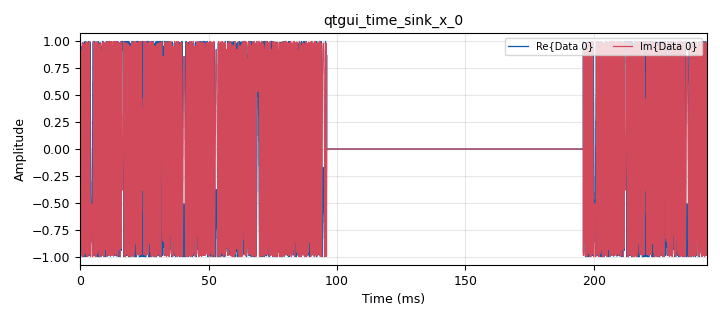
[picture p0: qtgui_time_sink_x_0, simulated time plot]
options:
  parameters:
    generate_options: qt_gui
    id: modules_test
    output_language: python
    title: Not titled yet
  states: {}

blocks:
- name: CR
  id: variable
  parameters:
    value: '2'
  states: {}
- name: SF
  id: variable
  parameters:
    value: '9'
  states: {}
- name: preamble_len
  id: variable
  parameters:
    value: '4'
  states: {}
- name: samp_rate
  id: variable
  parameters:
    value: '32000'
  states: {}
- name: blocks_file_sink_0
  id: blocks_file_sink
  parameters:
    file: dumpIN
    type: byte
  states: {state: disabled}
- name: blocks_file_sink_0_0
  id: blocks_file_sink
  parameters:
    file: dump
    type: byte
  states: {state: disabled}
- name: blocks_file_sink_0_1
  id: blocks_file_sink
  parameters:
    file: dumpOUT
    type: byte
  states: {state: disabled}
- name: blocks_file_sink_1
  id: blocks_file_sink
  parameters:
    file: lora_frame
    type: complex
  states: {}
- name: blocks_stream_mux_0
  id: blocks_stream_mux
  parameters:
    lengths: (round(pow(2,SF)*(preamble_len+2.25)), 9*512)
    type: complex
  states: {}
- name: blocks_vector_source_x_0_0_0_0
  id: blocks_vector_source_x
  parameters:
    repeat: 'False'
    type: byte
    vector: (0x01, 0x02, 0x03, 0x04, 0x05, 0x06, 0x07, 0x08, 0x09, 0x01, 0x02, 0x03, 0x04, 0x05, 0x06, 0x07, 0x08, 0x09)
  states: {}
- name: blocks_vector_source_x_0_1
  id: blocks_vector_source_x
  parameters:
    repeat: 'False'
    type: byte
    vector: (0xFF, 0x7F, 0x3F, 0x1F, 0x1F, 0x1F)
  states: {state: disabled}
- name: blocks_vector_to_stream_0_0_0
  id: blocks_vector_to_stream
  parameters:
    num_items: round(pow(2,SF)*(preamble_len+2.25))
    type: complex
  states: {}
- name: blocks_vector_to_stream_0_0_1
  id: blocks_vector_to_stream
  parameters:
    num_items: pow(2,SF)
    type: complex
  states: {}
- name: epy_block_0
  id: epy_block
  parameters:
    CR: CR
    SF: SF
    _source_code: |-
      """
      Interleaving block
      Scrambles bits together to fight error bursts.
      Reference : "Towards an SDR implementation of LoRa..." 2020 A.Marquet, N.Montavont, G.Papadopoulos)
      """

      import numpy as np
      from gnuradio import gr

      class Deinterleaver(gr.basic_block):
          def __init__(self, SF=9, CR=2):
              gr.basic_block.__init__(self,
                  name="LoRa Deinterleaver",
                  in_sig=[np.uint32],
                  out_sig=[np.uint8])
              self.SF = SF
              self.CR = CR

          def forecast(self, noutput_items, ninputs) :
              ninput_items_required = [self.CR+4]*ninputs #ninput_items_required[i] is the number of items that will be consumed on input port i
              return ninput_items_required

          def general_work(self, input_items, output_items):
              
              if(len(input_items[0]) >= self.CR+4) :

                  #buffer references
                  in0 = input_items[0][:self.CR+4]

                  # parsing in0 (convert + crop to CR+4 lines of SF bits and bundle in matrix)
                  input_matrix = np.zeros((self.CR+4, self.SF), dtype=np.uint8)
                  for i in range(len(in0)):
                      bits_crop = [int(x) for x in bin(in0[i])[2:]]        
                      bits_crop_norm = ([0]*(self.SF-len(bits_crop)) + bits_crop)[-(self.SF):]
                      input_matrix[i][:] = np.asarray(bits_crop_norm, dtype=np.uint8)

                  # deinterleaving
                  output_matrix = np.zeros((self.SF, self.CR+4), dtype=np.uint8)
                  for i in range(0,(self.SF)) :
                      for j in range(0,(self.CR+4)) :
                          idi=self.CR+4-1-j
                          idj=(self.SF-1-i+(self.CR+4)-1-j)%self.SF
                          output_matrix[i][j]=input_matrix[idi][idj]


                  # to uint32
                  output_items[0][0:(self.SF)] = output_matrix.dot(1 << np.arange(output_matrix.shape[-1] - 1, -1, -1))

                  # # debug
                  # print("\n--- GENERAL WORK : DEINTERLEAVER ---")
                  # print("in0 :")
                  # print(in0)
                  # print("len(in0) (should be CR+4): ")
                  # print(len(in0))
                  # print("input_matrix (CR+4 x SF):")
                  # print(input_matrix)
                  # print("output_matrix (SF x CR+4 ):")
                  # print(output_matrix)
                  # print("output_items[0] = ")
                  # print(output_items[0][0:(self.SF)])
                  # print("return len(output_items[0]) (should be CR+4): ")
                  # print(len(output_items[0]))

                  self.consume(0, self.CR+4)
                  # self.produce(0, self.SF-1)
                  return self.SF

              else :
                  return 0
  states: {state: disabled}
- name: epy_block_0_1_0_0
  id: epy_block
  parameters:
    CR: CR
    SF: SF
    _source_code: "\"\"\"\nInterleaving block\nScrambles bits together to fight error bursts.\nReference : \"Towards an SDR implementation of LoRa...\" 2020 A.Marquet, N.Montavont, G.Papadopoulos)\n\"\"\"\n\nimport numpy as np\nfrom gnuradio import gr\n\nclass Interleaver(gr.basic_block):\n    def __init__(self, SF=9, CR=4):\n        gr.basic_block.__init__(self,\n            name=\"LoRa Interleaver\",\n            in_sig=[np.uint8],\n            out_sig=[np.uint32])\n        self.SF = SF\n        self.CR = CR\n\n    def forecast(self, noutput_items, ninputs) :\n        ninput_items_required = [self.SF]*ninputs #ninput_items_required[i] is the number of items that will be consumed on input port i\n        return ninput_items_required\n\n    def general_work(self, input_items, output_items):\n        \n        if(len(input_items[0]) >= self.SF) :\n\n            #buffer references\n            in0 = input_items[0][:self.SF]\n\n            # parsing in0 (convert + crop to SF lines of CR+4 bits and bundle in matrix)\n            input_matrix = np.zeros((self.SF, self.CR+4), dtype=np.uint8)\n            for i in range(len(in0)):\n                bits_crop = [int(x) for x in bin(in0[i])[2:]]        \n                bits_crop_norm = ([0]*(self.CR+4-len(bits_crop)) + bits_crop)[-(self.CR+4):]\n                input_matrix[i][:] = np.asarray(bits_crop_norm, dtype=np.uint8)\n\n            # interleaving\n            output_matrix = np.zeros((self.CR+4, self.SF), dtype=np.uint8)\n            for i in range(0,(self.CR+4)) :\n                for j in range(0,(self.SF)) :\n                    idi=self.SF-1-(j-i)%self.SF\n                    idj=self.CR+4-1-i\n                    output_matrix[i][j]=input_matrix[idi][idj]\n            \n            # to uint32\n            output_items[0][0:(self.CR+4)] = output_matrix.dot(1 << np.arange(output_matrix.shape[-1] - 1, -1, -1))\n\n            # # debug\n            # print(\"\\n--- GENERAL WORK : INTERLEAVER ---\")\n            # print(\"in0 :\")\n            # print(in0)\n            # print(\"len(in0) (should be SF): \")\n            # print(len(in0))\n            # print(\"input_matrix (SF x CR+4):\")\n            # print(input_matrix)\n            # print(\"output_matrix (CR+4 x SF):\")\n            # print(output_matrix)\n            # print(\"output_items[0] = \")\n            # print(output_items[0])\n\n            #consume inputs (should be SF)\n            self.consume(0, self.SF)\n            return self.CR+4\n\n        else :\n            return 0\n\n\n\n"
  states: {}
- name: epy_block_1
  id: epy_block
  parameters:
    CR: CR
    _source_code: |-
      """
      Hamming Decoding block
      Forward Error Correction encoding block
      Reference : "Towards an SDR implementation of LoRa..." 2020 A.Marquet, N.Montavont, G.Papadopoulos)
      """

      import numpy as np
      from gnuradio import gr


      class Hamming_Rx(gr.sync_block):  # other base classes are basic_block, decim_block, interp_block
          def __init__(self, CR = 2):  # only default arguments here
              gr.sync_block.__init__(
                  self,
                  name='LoRa Hamming Rx',   # will show up in GRC
                  in_sig=[np.uint8],
                  out_sig=[np.uint8]
              )
              self.CR = CR

          def decode(self, input_vect, CR_loc) : 

              output=input_vect

              if CR_loc == 1:
                  syndrome = input_vect[0] ^ input_vect[1] ^ input_vect[2] ^ input_vect[3] ^ input_vect[4]
                  output = input_vect

              if CR_loc == 2:
                  syndrome = np.zeros((2,1), dtype=np.uint8)
                  syndrome[0] = input_vect[0] ^ input_vect[1] ^ input_vect[2] ^ input_vect[5]
                  syndrome[1] = input_vect[1] ^ input_vect[2] ^ input_vect[3] ^ input_vect[4]
                  output = input_vect

              if CR_loc == 3:
                  n = 4+CR_loc
                  k = 4
                  Q = np.array([[0,1,1], [1,1,0], [1,1,1], [1,0,1]], np.uint8)
                  Id = np.identity(n-k, dtype=np.uint8)
                  H = np.concatenate((Q.transpose(), Id),axis=1)
                  syndrome = np.dot(input_vect[:], H.transpose())%2

                  tmp = np.zeros((1,n-k+4), dtype=np.uint8)
                  tmp2 = np.identity(n-k+4, dtype=np.uint8)
                  E = np.concatenate((tmp, tmp2),axis=0)
                  S = np.dot(E,H.transpose())%2

                  # if(syndrome[0] == 1 or syndrome[1] == 1):
                  #     print("Error detected, correcting...")

                  for j in range(S.shape[1]):
                      if np.array_equal(S[j],syndrome):
                          output = input_vect ^ E[j][:]


              if CR_loc == 4:
                  n = 4+CR_loc
                  k = 4
                  Q = np.array([[0,1,1,1], [1,1,0,1], [1,1,1,0], [1,0,1,1]], np.uint8)
                  Id = np.identity(n-k, dtype=np.uint8)
                  H = np.concatenate((Q.transpose(), Id),axis=1)
                  syndrome = np.dot(input_vect[:], H.transpose())%2
                  if np.array_equal(syndrome,np.array([0,0,0,0])):
                      output = input_vect
                      # print("no error detected")

                  else :
                      parity = input_vect[0] ^ input_vect[1] ^ input_vect[2] ^ input_vect[3] ^ input_vect[4] ^ input_vect[5] ^ input_vect[6] ^ input_vect[7]

                      if parity :
                          # print("1 error detected, sending to hamming(7,3)")
                          output = self.decode(input_vect[:][0:7], 3)
                      # else :
                          # print("2 errors detected")
                      
              
              return output[:][0:4]

          def work(self, input_items, output_items):

              in0 = input_items[0]
              out = output_items[0]
          
              # Hamming encoding (iterate over matrix lines and encode each)
              output_matrix = np.zeros((len(in0), 4), dtype=np.uint8)
              input_matrix = np.zeros((len(in0), 4+self.CR), dtype=np.uint8)

              for i in range(len(in0)):

                  # parsing in0 (convert + crop to lines of 4 bits and bundle in matrix)
                  bits_crop = [int(x) for x in bin(in0[i])[2:]]        
                  bits_crop_norm = ([0]*(self.CR+4-len(bits_crop)) + bits_crop)[-(self.CR+4):]
                  input_matrix[i][:] = np.asarray(bits_crop_norm, dtype=np.uint8)

                  output_matrix[i][:] = self.decode(input_matrix[i][:],self.CR)


              # convert output matrix to uint8
              out[:] = output_matrix.dot(1 << np.arange(output_matrix.shape[-1] - 1, -1, -1))

              # # debug
              # print("\n--- GENERAL WORK : HAMMING_DEC ---")
              # print("in0 :")
              # print(in0)
              # print("input_matrix :")
              # print(input_matrix)
              # print("output_matrix :")
              # print(output_matrix)
              # print("out :")
              # print(out)
              # print("--- HAMMING_DEC END---")

              return len(output_items[0])
  states: {state: disabled}
- name: epy_block_1_0_0
  id: epy_block
  parameters:
    _source_code: |
      """
      Whitening block
      Whiten input sequence to remove the frequency and time correlations in it.

      """
      import numpy as np
      from gnuradio import gr

      whitening_seq =(0xFF, 0xFE, 0xFC, 0xF8, 0xF0, 0xE1, 0xC2, 0x85, 0x0B, 0x17, 0x2F, 0x5E, 0xBC, 0x78, 0xF1, 0xE3,
                      0xC6, 0x8D, 0x1A, 0x34, 0x68, 0xD0, 0xA0, 0x40, 0x80, 0x01, 0x02, 0x04, 0x08, 0x11, 0x23, 0x47,
                      0x8E, 0x1C, 0x38, 0x71, 0xE2, 0xC4, 0x89, 0x12, 0x25, 0x4B, 0x97, 0x2E, 0x5C, 0xB8, 0x70, 0xE0,
                      0xC0, 0x81, 0x03, 0x06, 0x0C, 0x19, 0x32, 0x64, 0xC9, 0x92, 0x24, 0x49, 0x93, 0x26, 0x4D, 0x9B,
                      0x37, 0x6E, 0xDC, 0xB9, 0x72, 0xE4, 0xC8, 0x90, 0x20, 0x41, 0x82, 0x05, 0x0A, 0x15, 0x2B, 0x56,
                      0xAD, 0x5B, 0xB6, 0x6D, 0xDA, 0xB5, 0x6B, 0xD6, 0xAC, 0x59, 0xB2, 0x65, 0xCB, 0x96, 0x2C, 0x58,
                      0xB0, 0x61, 0xC3, 0x87, 0x0F, 0x1F, 0x3E, 0x7D, 0xFB, 0xF6, 0xED, 0xDB, 0xB7, 0x6F, 0xDE, 0xBD,
                      0x7A, 0xF5, 0xEB, 0xD7, 0xAE, 0x5D, 0xBA, 0x74, 0xE8, 0xD1, 0xA2, 0x44, 0x88, 0x10, 0x21, 0x43,
                      0x86, 0x0D, 0x1B, 0x36, 0x6C, 0xD8, 0xB1, 0x63, 0xC7, 0x8F, 0x1E, 0x3C, 0x79, 0xF3, 0xE7, 0xCE,
                      0x9C, 0x39, 0x73, 0xE6, 0xCC, 0x98, 0x31, 0x62, 0xC5, 0x8B, 0x16, 0x2D, 0x5A, 0xB4, 0x69, 0xD2,
                      0xA4, 0x48, 0x91, 0x22, 0x45, 0x8A, 0x14, 0x29, 0x52, 0xA5, 0x4A, 0x95, 0x2A, 0x54, 0xA9, 0x53,
                      0xA7, 0x4E, 0x9D, 0x3B, 0x77, 0xEE, 0xDD, 0xBB, 0x76, 0xEC, 0xD9, 0xB3, 0x67, 0xCF, 0x9E, 0x3D,
                      0x7B, 0xF7, 0xEF, 0xDF, 0xBF, 0x7E, 0xFD, 0xFA, 0xF4, 0xE9, 0xD3, 0xA6, 0x4C, 0x99, 0x33, 0x66,
                      0xCD, 0x9A, 0x35, 0x6A, 0xD4, 0xA8, 0x51, 0xA3, 0x46, 0x8C, 0x18, 0x30, 0x60, 0xC1, 0x83, 0x07,
                      0x0E, 0x1D, 0x3A, 0x75, 0xEA, 0xD5, 0xAA, 0x55, 0xAB, 0x57, 0xAF, 0x5F, 0xBE, 0x7C, 0xF9, 0xF2,
                      0xE5, 0xCA, 0x94, 0x28, 0x50, 0xA1, 0x42, 0x84, 0x09, 0x13, 0x27, 0x4F, 0x9F, 0x3F, 0x7F)

      whitening_seq_debug =0xFF, 0xFF, 0xFF, 0xFF, 0xFF, 0xFF

      whitening_seq = whitening_seq_debug

      class Whitening(gr.sync_block):  # other base classes are basic_block, decim_block, interp_block
          def __init__(self):  # only default arguments here
              gr.sync_block.__init__(
                  self,
                  name='LoRa Whitening',   # will show up in GRC
                  in_sig=[np.uint8],
                  out_sig=[np.uint8]
              )
              self.table_idx = 0
              
          def work(self, input_items, output_items):
              
              in0 = input_items[0]
              out = output_items[0]
              # parsing in0 (convert + crop to lines of 4 bits and bundle in matrix)
              input_matrix = np.zeros((len(in0), 4), dtype=np.uint8)
              for i in range(len(in0)):
                  bits_crop = [int(x) for x in bin(in0[i])[2:]]        
                  bits_crop_norm = ([0]*(4-len(bits_crop)) + bits_crop)[-(4):]
                  input_matrix[i][:] = np.asarray(bits_crop_norm, dtype=np.uint8)
                  
                  # whitening
                  out[i] = in0[i] ^ whitening_seq[self.table_idx]
                  self.table_idx += 1
                  if(self.table_idx == len(whitening_seq)):
                      self.table_idx = 0


              # #debug
              # print("\n--- GENERAL WORK : WHITENING ---")
              # print("in0 :")
              # print(in0)
              # print("input_matrix :")
              # print(input_matrix)
              # print("out :")
              # print(out)
              # print("return len(out): ")
              # print(len(out))
              # print("--- WHITENING END---")

              return len(out)
  states: {}
- name: epy_block_1_1
  id: epy_block
  parameters:
    CR: CR
    _source_code: |
      """
      Hamming encoding block
      Forward Error Correction encoding block
      Reference : "Towards an SDR implementation of LoRa..." 2020 A.Marquet, N.Montavont, G.Papadopoulos)
      """

      import numpy as np
      from gnuradio import gr


      class Hamming_enc(gr.sync_block):  # other base classes are basic_block, decim_block, interp_block
          def __init__(self, CR = 4):  # only default arguments here
              gr.sync_block.__init__(
                  self,
                  name='LoRa Hamming Tx',   # will show up in GRC
                  in_sig=[np.uint8],
                  out_sig=[np.uint8]
              )
              self.CR = CR

          def work(self, input_items, output_items):
              
              in0 = input_items[0]
              out = output_items[0]
          
              # Hamming encoding (iterate over matrix lines and encode each)
              output_matrix = np.zeros((len(in0), 4+self.CR), dtype=np.uint8)
              input_matrix = np.zeros((len(in0), 4), dtype=np.uint8)
              for i in range(len(in0)):

                  # parsing in0 (convert + crop to lines of 4 bits and bundle in matrix)
                  bits_crop = [int(x) for x in bin(in0[i])[2:]] 
                  # print(bits_crop)      
                  bits_crop_norm = ([0]*(4-len(bits_crop)) + bits_crop)[-(4):]
                  input_matrix[i][:] = np.asarray(bits_crop_norm, dtype=np.uint8)

                  if self.CR == 1:
                      p0 = input_matrix[i][0] ^ input_matrix[i][1] ^ input_matrix[i][2] ^ input_matrix[i][3]
                      output_matrix[i] = np.asarray([input_matrix[i][0], input_matrix[i][1], input_matrix[i][2], input_matrix[i][3], p0], dtype=np.uint8)

                  if self.CR == 2:
                      p0 = input_matrix[i][0] ^ input_matrix[i][1] ^ input_matrix[i][2]
                      p1 = input_matrix[i][1] ^ input_matrix[i][2] ^ input_matrix[i][3]
                      output_matrix[i] = np.asarray([input_matrix[i][0], input_matrix[i][1], input_matrix[i][2], input_matrix[i][3], p1, p0], dtype=np.uint8)

                  if self.CR == 3:
                      Q = np.array([[0,1,1,1], [1,1,0,1], [1,1,1,0], [1,0,1,1]], np.uint8)
                      Id = np.identity(4, dtype=np.uint8)
                      G = np.concatenate((Id, Q),axis=1)
                      output_matrix[i] = (np.dot(input_matrix[i],G)%2)[0:4+self.CR]

                  if self.CR == 4:
                      Q = np.array([[0,1,1,1], [1,1,0,1], [1,1,1,0], [1,0,1,1]], np.uint8)
                      Id = np.identity(4, dtype=np.uint8)
                      G = np.concatenate((Id, Q),axis=1)
                      output_matrix[i] = (np.dot(input_matrix[i],G)%2)

              # convert output matrix to uint8
              out[:] = output_matrix.dot(1 << np.arange(output_matrix.shape[-1] - 1, -1, -1))

              # #debug
              # print("\n--- GENERAL WORK : HAMMING_ENC ---")
              # print("in0 :")
              # print(in0)
              # print("input_matrix :")
              # print(input_matrix)
              # print("output_matrix :")
              # print(output_matrix)
              # print("out :")
              # print(out)
              # print("--- HAMMING_ENC END---")

              return len(output_items[0])
  states: {}
- name: epy_block_2
  id: epy_block
  parameters:
    _source_code: |-
      """
      Dewhitening block
      """
      import numpy as np
      from gnuradio import gr

      whitening_seq =(0xFF, 0xFE, 0xFC, 0xF8, 0xF0, 0xE1, 0xC2, 0x85, 0x0B, 0x17, 0x2F, 0x5E, 0xBC, 0x78, 0xF1, 0xE3,
                      0xC6, 0x8D, 0x1A, 0x34, 0x68, 0xD0, 0xA0, 0x40, 0x80, 0x01, 0x02, 0x04, 0x08, 0x11, 0x23, 0x47,
                      0x8E, 0x1C, 0x38, 0x71, 0xE2, 0xC4, 0x89, 0x12, 0x25, 0x4B, 0x97, 0x2E, 0x5C, 0xB8, 0x70, 0xE0,
                      0xC0, 0x81, 0x03, 0x06, 0x0C, 0x19, 0x32, 0x64, 0xC9, 0x92, 0x24, 0x49, 0x93, 0x26, 0x4D, 0x9B,
                      0x37, 0x6E, 0xDC, 0xB9, 0x72, 0xE4, 0xC8, 0x90, 0x20, 0x41, 0x82, 0x05, 0x0A, 0x15, 0x2B, 0x56,
                      0xAD, 0x5B, 0xB6, 0x6D, 0xDA, 0xB5, 0x6B, 0xD6, 0xAC, 0x59, 0xB2, 0x65, 0xCB, 0x96, 0x2C, 0x58,
                      0xB0, 0x61, 0xC3, 0x87, 0x0F, 0x1F, 0x3E, 0x7D, 0xFB, 0xF6, 0xED, 0xDB, 0xB7, 0x6F, 0xDE, 0xBD,
                      0x7A, 0xF5, 0xEB, 0xD7, 0xAE, 0x5D, 0xBA, 0x74, 0xE8, 0xD1, 0xA2, 0x44, 0x88, 0x10, 0x21, 0x43,
                      0x86, 0x0D, 0x1B, 0x36, 0x6C, 0xD8, 0xB1, 0x63, 0xC7, 0x8F, 0x1E, 0x3C, 0x79, 0xF3, 0xE7, 0xCE,
                      0x9C, 0x39, 0x73, 0xE6, 0xCC, 0x98, 0x31, 0x62, 0xC5, 0x8B, 0x16, 0x2D, 0x5A, 0xB4, 0x69, 0xD2,
                      0xA4, 0x48, 0x91, 0x22, 0x45, 0x8A, 0x14, 0x29, 0x52, 0xA5, 0x4A, 0x95, 0x2A, 0x54, 0xA9, 0x53,
                      0xA7, 0x4E, 0x9D, 0x3B, 0x77, 0xEE, 0xDD, 0xBB, 0x76, 0xEC, 0xD9, 0xB3, 0x67, 0xCF, 0x9E, 0x3D,
                      0x7B, 0xF7, 0xEF, 0xDF, 0xBF, 0x7E, 0xFD, 0xFA, 0xF4, 0xE9, 0xD3, 0xA6, 0x4C, 0x99, 0x33, 0x66,
                      0xCD, 0x9A, 0x35, 0x6A, 0xD4, 0xA8, 0x51, 0xA3, 0x46, 0x8C, 0x18, 0x30, 0x60, 0xC1, 0x83, 0x07,
                      0x0E, 0x1D, 0x3A, 0x75, 0xEA, 0xD5, 0xAA, 0x55, 0xAB, 0x57, 0xAF, 0x5F, 0xBE, 0x7C, 0xF9, 0xF2,
                      0xE5, 0xCA, 0x94, 0x28, 0x50, 0xA1, 0x42, 0x84, 0x09, 0x13, 0x27, 0x4F, 0x9F, 0x3F, 0x7F)

      whitening_seq_debug = 0xFF, 0xFF, 0xFF, 0xFF, 0xFF, 0xFF

      whitening_seq = whitening_seq_debug

      class LoRa_Dewhitening(gr.sync_block):  # other base classes are basic_block, decim_block, interp_block
          def __init__(self):  # only default arguments here
              gr.sync_block.__init__(
                  self,
                  name='LoRa Dewhitening',   # will show up in GRC
                  in_sig=[np.uint8],
                  out_sig=[np.uint8]
              )
              self.table_idx = 0
              
          def work(self, input_items, output_items):


              in0 = input_items[0]
              out = output_items[0]
              # parsing in0 (convert + crop to lines of 4 bits and bundle in matrix)
              input_matrix = np.zeros((len(in0), 4), dtype=np.uint8)
              for i in range(len(in0)):
                  bits_crop = [int(x) for x in bin(in0[i])[2:]]        
                  bits_crop_norm = ([0]*(4-len(bits_crop)) + bits_crop)[-(4):]
                  input_matrix[i][:] = np.asarray(bits_crop_norm, dtype=np.uint8)
                  
                  # dewhitening
                  out_temp = in0[i] ^ whitening_seq[self.table_idx]
                  bits_out_temp_crop = [int(x) for x in bin(out_temp)[2:]]        
                  bits_out_temp_crop_norm = ([0]*(4-len(bits_out_temp_crop)) + bits_out_temp_crop)[-(4):]
                  # print(bits_out_temp_crop_norm)
                  output_items[0][i] = np.array(bits_out_temp_crop_norm).dot(1 << np.arange(np.array(bits_out_temp_crop_norm).shape[-1] - 1, -1, -1))
                  self.table_idx += 1
                  if(self.table_idx == len(whitening_seq)):
                      self.table_idx = 0

              # #debug
              # print("\n--- GENERAL WORK : DEWHITENING ---")
              # print("in0 :")
              # print(in0)
              # print("input_matrix :")
              # print(input_matrix)
              # print("out :")
              # print(output_items[0][:])
              # print("return len(out): ")
              # print(len(output_items[0]))
              # print("--- DEWHITENING END---")
              return len(output_items[0])
  states: {state: disabled}
- name: epy_block_3
  id: epy_block
  parameters:
    SF: '9'
    _source_code: |-
      """
      Modulation Block:
      """

      import numpy as np
      from gnuradio import gr
      import math

      def modulate(SF, id, os_factor) :
          M  = pow(2,SF)
          chirp = np.zeros((len(id),M*os_factor), dtype=np.complex64)

          for i in range(len(id)) :
              n_fold = M * os_factor - id[i] * os_factor
              for n in range(0,M*os_factor):
                  if n < n_fold:
                      chirp[i][n] = np.exp(2j*math.pi *(n*n/(2*M)/pow(os_factor,2)+(id[i]/M-0.5)*n/os_factor))
                  else:
                      chirp[i][n] = np.exp(2j*math.pi *(n*n/(2*M)/pow(os_factor,2)+(id[i]/M-1.5)*n/os_factor))
          
          # chirp = np.reshape(chirp,-1)

          return chirp

      class blk(gr.sync_block):  # other base classes are basic_block, decim_block, interp_block

          def __init__(self, SF = 9, preamble_len = 4):  # only default arguments here
              gr.sync_block.__init__(
                  self,
                  name='LoRa Preamble',   # will show up in GRC
                  in_sig=None,
                  # out_sig=[(np.complex64,pow(2,SF)*preamble_len+round(pow(2,SF)*2.25))]
                  out_sig=[(np.complex64,round(pow(2,SF)*(preamble_len+2.25)))]
              )
              self.SF = SF
              self.preamble_len = preamble_len

          def work(self, input_items, output_items):

              # for i in range (len(symbols)) :
              #     output_items[0][i] = modulate(self.SF, [symbols[i]], 1)
              
              # preamble = np.zeros((self.preamble_len*pow(2,self.SF)), dtype=np.complex64)
              preamble_up = np.reshape(modulate(self.SF, [0]*self.preamble_len, 1), -1)
              preamble_down = np.reshape(np.conjugate(modulate(self.SF, [0]*3, 1)), -1)[0:int(2.25*pow(2,self.SF))]
              #  [:round(0.75*pow(2,self.SF))]
              # print(preamble_up.shape)
              # print(preamble_down.shape)
              preamble = np.concatenate((preamble_up, preamble_down))
              output_items[0][0] = np.reshape(preamble,-1)


              return len(output_items[0])
    preamble_len: '4'
  states: {}
- name: epy_block_4
  id: epy_block
  parameters:
    _source_code: |-
      """
      Embedded Python Blocks:

      Each time this file is saved, GRC will instantiate the first class it finds
      to get ports and parameters of your block. The arguments to __init__  will
      be the parameters. All of them are required to have default values!
      """

      import numpy as np
      from gnuradio import gr

      class my_basic_adder_block(gr.basic_block):
          # def __init__(self):
          #     gr.basic_block.__init__(self,
          #         name="test_blqsdock",
          #         in_sig=[np.uint8],
          #         out_sig=[np.uint8])

          # def forecast(self, noutput_items, ninputs) :
          #     ninput_items_required = [0]*ninputs #ninput_items_required[i] is the number of items that will be consumed on input port i
          #     for i in range(ninputs):
          #         ninput_items_required[i] = 1.5 * noutput_items * ninputs

          #     # print("--- FORECAST ---")
          #     # print(ninputs)
          #     # print(noutput_items)
          #     # print(ninput_items_required)

          #     return ninput_items_required


          # def general_work(self, input_items, output_items):
              
          #     #buffer references
          #     in0 = input_items[0][:len(output_items[0])]
          #     out = output_items[0]
              

          #     output_items[0][:] = in0


          #     print("\n--- GENERAL WORK 1  ---")
          #     print("input_items[0]")
          #     print(input_items[0])
          #     print("in0")
          #     print(in0)
          #     print("len(in0)")
          #     print(len(in0))
          #     print("output_items[0]")
          #     print(output_items[0])
          #     print("len(output_items[0])")
          #     print(len(output_items[0]))

          #     #consume the inputs
          #     self.consume(0, len(in0)) #consume port 0 input
          #     # self.produce(0, 1) #produce 3 items on port 0
          #     #return produced
          #     return len(output_items[0])

         def __init__(self, input_buffer_len=2):
            gr.basic_block.__init__(self,
               name="sync_test",
               in_sig=[np.uint8],
               out_sig=[np.uint8])
            self.input_buffer_len = input_buffer_len

         def forecast(self, noutput_items, ninputs):
          #   print("FORECAST START")
            ninput_items_required = [self.input_buffer_len] * ninputs
          #   print("len(ninput_items_required),noutput_items",len(ninput_items_required),noutput_items)
          #   print("FORECAST END")
            return ninput_items_required

         def general_work(self, input_items, output_items):
          print("\n--- GENERAL WORK START ---")
          if(len(input_items[0]) >= self.input_buffer_len) :
              out_vect = [0xFF, 0x55, 0xAA]
              output_items[0][0:len(out_vect)] = out_vect
              self.consume(0, self.input_buffer_len)
              self.produce(0, len(out_vect))


              print("len(input_items)", len(input_items[0]))
              print("input_buffer_len", self.input_buffer_len)
              print("len(input_items[0]) >= input_buffer_len")
              print("len(output_items[0])", len(output_items[0]))
              print("output_items[0] = ")
              print(output_items[0])

          print("--- GENERAL WORK END ---")
          return len(out_vect)
    input_buffer_len: '2'
  states: {state: disabled}
- name: epy_block_5
  id: epy_block
  parameters:
    B: '250000'
    SF: SF
    _source_code: |
      """
      Demodulation Block:
      """

      import numpy as np
      from gnuradio import gr
      import math

      # def modulate(SF, symbol, sign) :
          # M  = pow(2,SF)
          # ka = np.arange(0,M)
          # fact1 = np.exp(1j*sign*math.pi*pow(ka,2)/M)
          # fact1 = np.reshape(fact1,(1,-1))
          # symbK = np.multiply(fact1,np.exp(2j*math.pi*(symbol/M)*ka))
          # return symbK
          
      def modulate(SF, id, os_factor) :
          M  = pow(2,SF)
          n_fold = M * os_factor - id * os_factor
          chirp = np.zeros(M*os_factor, dtype=np.complex64)
          for n in range(0,M*os_factor):
              if n < n_fold:
                  chirp[n] = np.exp(2j*math.pi *(n*n/(2*M)/pow(os_factor,2)+(id/M-0.5)*n/os_factor))
              else:
                  chirp[n] = np.exp(2j*math.pi *(n*n/(2*M)/pow(os_factor,2)+(id/M-1.5)*n/os_factor))
          return chirp


      class blk(gr.sync_block):  # other base classes are basic_block, decim_block, interp_block

          def __init__(self, SF = 9, B = 250000):  # only default arguments here
              """arguments to this function show up as parameters in GRC"""
              gr.sync_block.__init__(
                  self,
                  name='LoRa Demodulation',   # will show up in GRC
                  in_sig=[(np.complex64,512)],
                  # out_sig=[(np.complex64,512)]
                  out_sig=[np.uint32]
              )
              self.SF = SF
              self.B = B

          def work(self, input_items, output_items):
              """example: multiply with constant"""
              base_upchirp = modulate(self.SF, 0, 1)
              base_downchirp = np.conjugate(base_upchirp)
              M = pow(2,self.SF)
              symbols_hat =  np.zeros(len(input_items[0]), dtype=np.uint32)
              for i in range(len(input_items[0])):
                  demod_signal = np.multiply(input_items[0][i], base_downchirp)
                  demod_signal_fft = np.fft.fft(demod_signal)
                  idx = np.argmax(np.abs(demod_signal_fft))
                  freq_vect = np.arange(0,M-1)*(self.B/M) # !!!! WILL INTRODUCE PROBLEMS WHEN OS_FACTOR IS NOT 1 !!!!
                  output_items[0][i] = round(freq_vect[idx]*M/self.B)
                  symbols_hat[i] = round(freq_vect[idx]*M/self.B)
              
              # # debug
              # print("\n--- GENERAL WORK : DEMODULATION ---")
              # print("symbols_hat :")
              # print(symbols_hat)

              return len(output_items[0])
  states: {state: disabled}
- name: epy_block_6_0_0_0_0_0
  id: epy_block
  parameters:
    SF: SF
    _source_code: |-
      """
      Modulation Block:
      """

      import numpy as np
      from gnuradio import gr
      import math
      import pmt

      def modulate(SF, id, os_factor) :
          M  = pow(2,SF)
          n_fold = M * os_factor - id * os_factor
          chirp = np.zeros(M*os_factor, dtype=np.complex64)
          for n in range(0,M*os_factor):
              if n < n_fold:
                  chirp[n] = np.exp(2j*math.pi *(n*n/(2*M)/pow(os_factor,2)+(id/M-0.5)*n/os_factor))
              else:
                  chirp[n] = np.exp(2j*math.pi *(n*n/(2*M)/pow(os_factor,2)+(id/M-1.5)*n/os_factor))
          return chirp

      class blk(gr.sync_block):  # other base classes are basic_block, decim_block, interp_block

          def __init__(self, SF = 9):  # only default arguments here
              gr.sync_block.__init__(
                  self,
                  name='LoRa Modulation',   # will show up in GRC
                  in_sig=[np.uint32],
                  out_sig=[(np.complex64,pow(2,SF))]
              )
              self.SF = SF

          def work(self, input_items, output_items):
              
              symbols = input_items[0]

              for i in range (len(symbols)) :
                  output_items[0][i] = modulate(self.SF, symbols[i], 1)


              # tags = self.get_tags_in_window(0, 0, len(input_items[0]))
              # #if there exist tag
              # if len(tags) > 0:
              #     #for each tag apply
              #     for tag in tags:
              #         tag_name   = pmt.to_python(tag.key)            # packet_tag
              #         tag_len    = pmt.to_python(tag.value)          # packet_len
              #         tag_pos    = tag.offset - self.nitems_read(0)  # packet_position_index
              #         print("tag_name :", tag_name, "\ntag_len :", tag_len, "\ntag_pos:", tag_pos)

              return len(output_items[0])
  states: {}
- name: qtgui_time_sink_x_0
  id: qtgui_time_sink_x
  parameters:
    size: 512*9+round(pow(2,SF)*(preamble_len+2.25))
    srate: samp_rate
    type: complex
  states: {}

connections:
- [blocks_stream_mux_0, '0', blocks_file_sink_1, '0']
- [blocks_stream_mux_0, '0', qtgui_time_sink_x_0, '0']
- [blocks_vector_source_x_0_0_0_0, '0', epy_block_1_0_0, '0']
- [blocks_vector_source_x_0_1, '0', epy_block_4, '0']
- [blocks_vector_to_stream_0_0_0, '0', blocks_stream_mux_0, '0']
- [blocks_vector_to_stream_0_0_1, '0', blocks_stream_mux_0, '1']
- [epy_block_0, '0', epy_block_1, '0']
- [epy_block_0_1_0_0, '0', epy_block_6_0_0_0_0_0, '0']
- [epy_block_1, '0', epy_block_2, '0']
- [epy_block_1_0_0, '0', epy_block_1_1, '0']
- [epy_block_1_1, '0', epy_block_0_1_0_0, '0']
- [epy_block_2, '0', blocks_file_sink_0_1, '0']
- [epy_block_3, '0', blocks_vector_to_stream_0_0_0, '0']
- [epy_block_4, '0', blocks_file_sink_0_0, '0']
- [epy_block_5, '0', epy_block_0, '0']
- [epy_block_6_0_0_0_0_0, '0', blocks_vector_to_stream_0_0_1, '0']
- [epy_block_6_0_0_0_0_0, '0', epy_block_5, '0']

metadata:
  file_format: 1
